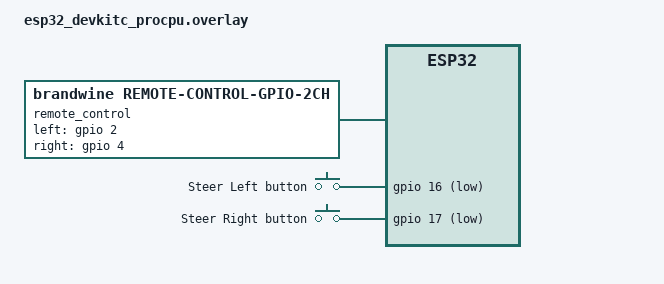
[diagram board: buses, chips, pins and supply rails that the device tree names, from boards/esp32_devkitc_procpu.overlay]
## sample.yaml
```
# This file is provided so that the application can be compiled using Twister,
# the Zephyr testing tool. In this file, multiple combinations can be specified,
# so that you can easily test all of them locally or in CI.
sample:
  description: Example application
  name: example-application 
common:
  build_only: true
  integration_platforms:
    - custom_plank
    - nucleo_f302r8
    - esp32_devkitc/esp32/procpu
tests:
  app.default: {}
  app.debug:
    extra_overlay_confs:
      - debug.conf
```

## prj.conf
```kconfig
# Copyright (c) 2021 Nordic Semiconductor ASA
# SPDX-License-Identifier: Apache-2.0
#
# This file contains selected Kconfig options for the application.

CONFIG_INPUT=y
CONFIG_INPUT_GPIO_KEYS=y

CONFIG_SENSOR=y
CONFIG_2CH_REMOTE_CONTROL=y
CONFIG_RC_CAR=y
CONFIG_BOOTLOADER_MCUBOOT=y
# CONFIG_MCUBOOT_SIGNATURE_KEY_FILE="mcu_root_key.pem"
```

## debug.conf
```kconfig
# Copyright (c) 2021 Nordic Semiconductor ASA
# SPDX-License-Identifier: Apache-2.0
#
# This is a Kconfig fragment which can be used to enable debug-related options
# in the application. See the README for more details.

# Compiler
# CONFIG_DEBUG_OPTIMIZATIONS=y # Causing the app to crash
# CONFIG_NO_OPTIMIZATIONS=y      # -O0: all variables visible

# # west build -b reel_board --sysbuild samples/hello_world -- -DSB_CONFIG_BOOTLOADER_MCUBOOT=y
# mcuboot_CONFIG_DEBUG_OPTIMIZATIONS=y

# Logging
CONFIG_LOG=y
CONFIG_APP_LOG_LEVEL_DBG=y

# GDB thread awareness
# CONFIG_DEBUG_THREAD_INFO=y

# Exception info
CONFIG_EXCEPTION_DEBUG=y

# logging
CONFIG_LOG=y
CONFIG_APP_LOG_LEVEL_DBG=y
CONFIG_2CH_REMOTE_CONTROL_LOG_LEVEL_DBG=y
CONFIG_RC_CAR_LOG_LEVEL_DBG=y
```

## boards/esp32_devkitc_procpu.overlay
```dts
/*
 * Copyright (c) 2021 Nordic Semiconductor ASA
 * SPDX-License-Identifier: Apache-2.0
 */

/* This devicetree overlay file will be automatically picked by the Zephyr
 * build system when building the sample for the nucleo_f302r8 board. It shows
 * how the example-application can be built on sample boards already provided
 * by Zephyr.
 */

#include <zephyr/dt-bindings/input/input-event-codes.h>
/ {
	// example_sensor: example-sensor {
	// 	compatible = "zephyr,example-sensor";
	// 	input-gpios = <&gpio 13 (GPIO_PULL_UP | GPIO_ACTIVE_LOW)>;
	// };

	// blink_led: blink-led {
	// 	compatible = "blink-gpio-led";
	// 	led-gpios = <&gpio 13 GPIO_ACTIVE_HIGH>;
	// 	blink-period-ms = <1000>;
	// };

	/*
	An ESP32 DevKit exposes about 25 of its 48 GPIO pins. While highly versatile, certain pins are restricted due to internal flash, boot strapping, or input-only constraints. For safety and reliability, use the free GPIOs (e.g., 13, 14, 25-27, 32, 33) first.
	See - https://randomnerdtutorials.com/esp32-pinout-reference-gpios/
	*/
	remote_control: remote-control-gpio-2ch {
		compatible = "brandwine,remote-control-gpio-2ch";
		left-gpios = <&gpio 2 GPIO_ACTIVE_HIGH>;
		right-gpios = <&gpio 4 GPIO_ACTIVE_HIGH>;
	};

	buttons {
		compatible = "gpio-keys";

		button0: button_0 {
			gpios = <&gpio 16 (GPIO_PULL_UP | GPIO_ACTIVE_LOW)>;
			label = "Steer Left button";
			zephyr,code = <INPUT_KEY_0>;
		};
		button1: button_1 {
			gpios = <&gpio 17 (GPIO_PULL_UP | GPIO_ACTIVE_LOW)>;
			label = "Steer Right button";
			zephyr,code = <INPUT_KEY_1>;
		};
	};
};
```

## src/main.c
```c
/*
 * Copyright (c) 2021 Nordic Semiconductor ASA
 * SPDX-License-Identifier: Apache-2.0
 */

#include <zephyr/kernel.h>
#include <zephyr/logging/log.h>
#include <app/lib/rc_car.h>

#include <app_version.h>

LOG_MODULE_REGISTER(main, CONFIG_APP_LOG_LEVEL);

int main(void)
{
	const struct device *dev = DEVICE_DT_GET(DT_NODELABEL(remote_control));

	printk("Zephyr Remote Controlled Car Application %s\n", APP_VERSION_STRING);

	if (0 != rc_car_init(dev))
	{
		LOG_ERR("Remote control 2ch not ready");
		return 0;
	}

	k_sleep(K_FOREVER);
	// while (1)
	// {
	// 	LOG_INF("");
	// 	LOG_INF("Turning left");
	// 	rc_car_turn_left();
	// 	// DEVICE_API_GET(remote_control_2ch, remote_control_2ch_dev)->turn_left(remote_control_2ch_dev);
	// 	k_sleep(K_MSEC(1000));

	// 	LOG_INF("Centering");
	// 	// DEVICE_API_GET(remote_control_2ch, remote_control_2ch_dev)->center(remote_control_2ch_dev);
	// 	rc_car_center_wheels();
	// 	k_sleep(K_MSEC(1000));

	// 	LOG_INF("Turning right");
	// 	rc_car_turn_right();
	// 	// DEVICE_API_GET(remote_control_2ch, remote_control_2ch_dev)->turn_right(remote_control_2ch_dev);
	// 	k_sleep(K_MSEC(1000));

	// 	LOG_INF("Centering");
	// 	// DEVICE_API_GET(remote_control_2ch, remote_control_2ch_dev)->center(remote_control_2ch_dev);
	// 	rc_car_center_wheels();
	// 	k_sleep(K_MSEC(1000));
	// }

	return 0;
}
```
